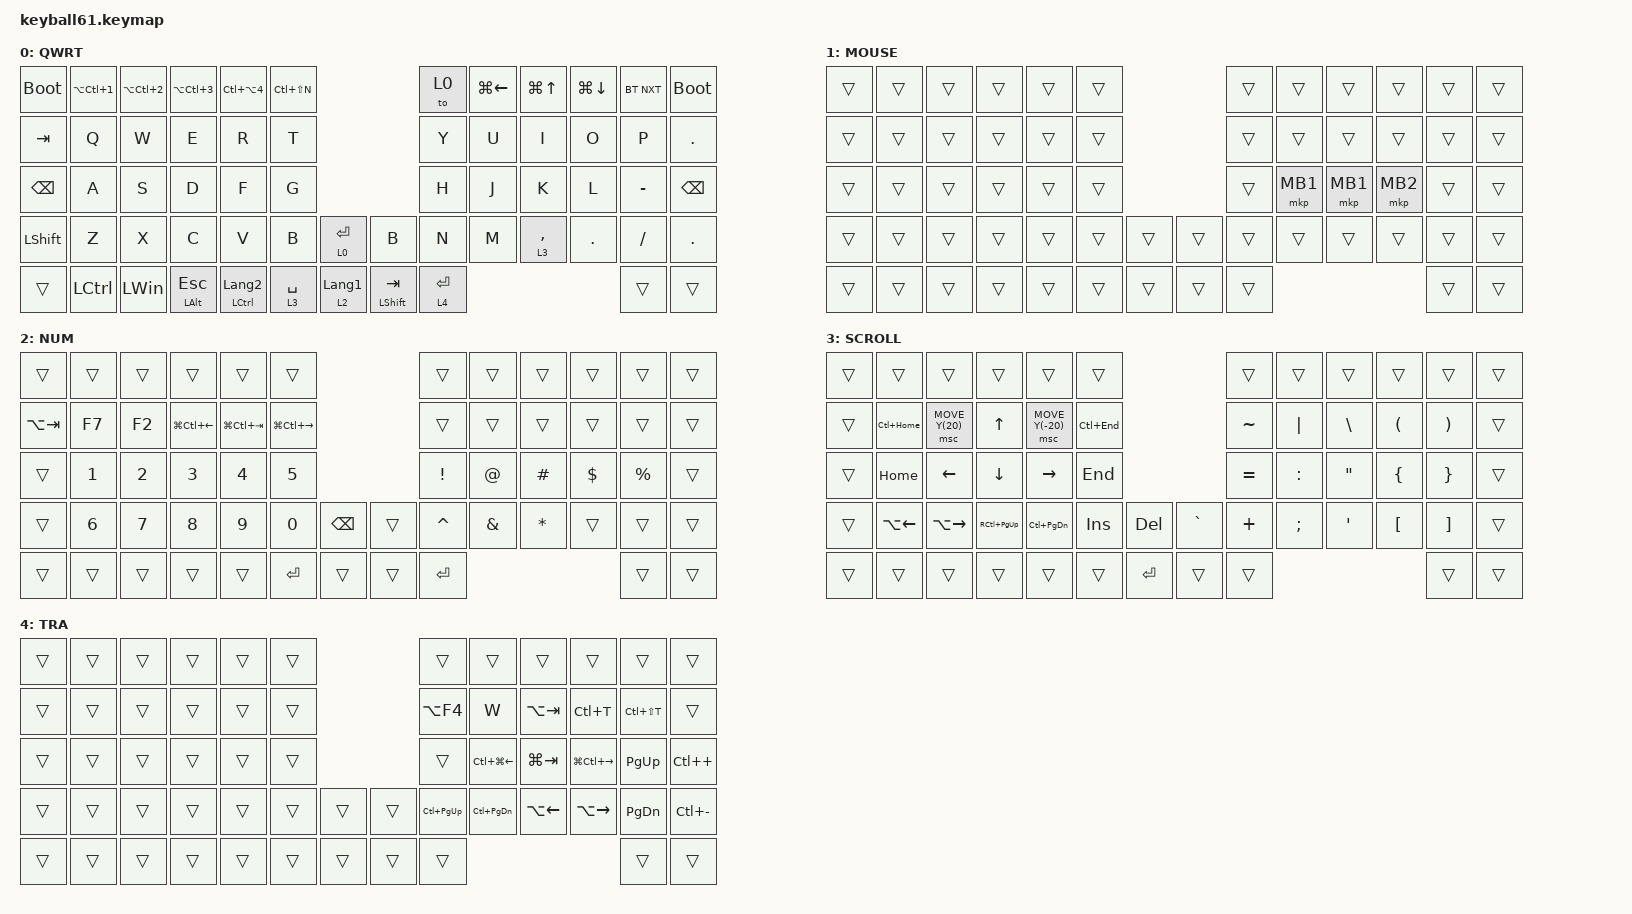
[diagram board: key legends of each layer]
#define DEFAULT 0
#define MOUSE   1
#define NUM     2
#define TRA     3
#define SCROLL  4
#define SNIPE   5 // Snipe Mode Layer

#include <behaviors/mouse_keys.dtsi>
#include <dt-bindings/zmk/mouse.h>
#include <behaviors.dtsi>
#include <dt-bindings/zmk/bt.h>
#include <dt-bindings/zmk/keys.h>
#include <dt-bindings/zmk/pointing.h>

&lt {
    tapping-term-ms = <175>;
    flavor = "balanced";
    quick-tap-ms = <125>;
};

&mt {
    tapping-term-ms = <175>;
    flavor = "tap-preferred";
    quick-tap-ms = <125>;
};

/ {
    combos {
        compatible = "zmk,combos";

        mb1 {
            bindings = <&mkp MB1>;
            key-positions = <31 32>;
        };

        mb2 {
            bindings = <&mkp MB2>;
            key-positions = <32 33>;
        };
    };

    keymap {
        compatible = "zmk,keymap";

        default_layer {
            label = "QWRT";
            bindings = <
&bootloader     &kp LA(LC(N1))  &kp LA(LC(N2))  &kp LA(LC(N3))       &kp LC(LA(N4))        &kp LC(LS(N))                                        &to 0        &kp LG(LEFT_ARROW)  &kp LG(UP)   &kp LG(DOWN_ARROW)  &bt BT_NXT  &bootloader
&kp TAB         &kp Q           &kp W           &kp E                &kp R                 &kp T                                                &kp Y        &kp U               &kp I        &kp O               &kp P       &kp PERIOD
&kp BSPC        &kp A           &kp S           &kp D                &kp F                 &kp G                                                &kp H        &kp J               &kp K        &kp L               &kp MINUS   &kp BACKSPACE
&kp LEFT_SHIFT  &kp Z           &kp X           &kp C                &kp V                 &kp B          &lt 0 ENTER       &kp B               &kp N        &kp M               &lt 3 COMMA  &kp PERIOD          &kp FSLH    &kp PERIOD
&trans          &kp LCTRL       &kp LEFT_WIN    &mt LEFT_ALT ESCAPE  &mt LCTRL LANGUAGE_2  &lt 3 SPACE    &lt 2 LANGUAGE_1  &mt LEFT_SHIFT TAB  &lt 4 ENTER                                                       &trans      &trans
            >;
        };

        mouse_layer {
            label = "MOUSE";
            bindings = <
&trans  &trans  &trans  &trans  &trans  &trans                  &trans  &trans    &trans    &trans    &trans  &trans
&trans  &trans  &trans  &trans  &trans  &trans                  &trans  &trans    &trans    &trans    &trans  &trans
&trans  &trans  &trans  &trans  &trans  &trans                  &trans  &mkp MB1  &mkp MB1  &mkp MB2  &trans  &trans
&trans  &trans  &trans  &trans  &trans  &trans  &trans  &trans  &trans  &trans    &trans    &trans    &trans  &trans
&trans  &trans  &trans  &trans  &trans  &trans  &trans  &trans  &trans                                &trans  &trans
            >;
        };

        number_layer {
            label = "NUM";
            bindings = <
&trans       &trans  &trans  &trans                  &trans           &trans                                    &trans           &trans         &trans        &trans      &trans       &trans
&kp LA(TAB)  &kp F7  &kp F2  &kp LG(LC(LEFT_ARROW))  &kp LG(LC(TAB))  &kp LG(LC(RIGHT))                         &trans           &trans         &trans        &trans      &trans       &trans
&trans       &kp N1  &kp N2  &kp N3                  &kp N4           &kp N5                                    &kp EXCLAMATION  &kp AT_SIGN    &kp HASH      &kp DOLLAR  &kp PERCENT  &trans
&trans       &kp N6  &kp N7  &kp N8                  &kp N9           &kp N0             &kp BACKSPACE  &trans  &kp CARET        &kp AMPERSAND  &kp ASTERISK  &trans      &trans       &trans
&trans       &trans  &trans  &trans                  &trans           &kp ENTER          &trans         &trans  &kp ENTER                                                 &trans       &trans
            >;
        };

        scroll_layer {
            label = "SCROLL";
            bindings = <
&trans  &trans        &trans           &trans         &trans            &trans                              &trans     &trans     &trans             &trans                &trans                 &trans
&trans  &kp LC(HOME)  &msc MOVE_Y(20)  &kp UP_ARROW   &msc MOVE_Y(-20)  &kp LC(END)                         &kp TILDE  &kp PIPE   &kp BACKSLASH      &kp LEFT_PARENTHESIS  &kp RIGHT_PARENTHESIS  &trans
&trans  &kp HOME      &kp LEFT_ARROW   &kp DOWN       &kp RIGHT         &kp END                             &kp EQUAL  &kp COLON  &kp DOUBLE_QUOTES  &kp LEFT_BRACE        &kp RIGHT_BRACE        &trans
&trans  &kp LA(LEFT)  &kp LA(RIGHT)    &kp RC(PG_UP)  &kp LC(PG_DN)     &kp INSERT   &kp DELETE  &kp GRAVE  &kp PLUS   &kp SEMI   &kp SINGLE_QUOTE   &kp LEFT_BRACKET      &kp RIGHT_BRACKET      &trans
&trans  &trans        &trans           &trans         &trans            &trans       &kp ENTER   &trans     &trans                                                         &trans                 &trans
            >;
        };

        trans_layer {
            label = "TRA";
            bindings = <
&trans  &trans  &trans  &trans  &trans  &trans                  &trans         &trans             &trans              &trans             &trans         &trans
&trans  &trans  &trans  &trans  &trans  &trans                  &kp LA(F4)     &kp W              &kp LA(TAB)         &kp LC(T)          &kp LC(LS(T))  &trans
&trans  &trans  &trans  &trans  &trans  &trans                  &trans         &kp LC(LG(LEFT))   &kp LG(TAB)         &kp LG(LC(RIGHT))  &kp PG_UP      &kp LC(PLUS)
&trans  &trans  &trans  &trans  &trans  &trans  &trans  &trans  &kp LC(PG_UP)  &kp LC(PAGE_DOWN)  &kp LA(LEFT_ARROW)  &kp LA(RIGHT)      &kp PAGE_DOWN  &kp LC(MINUS)
&trans  &trans  &trans  &trans  &trans  &trans  &trans  &trans  &trans                                                                   &trans         &trans
            >;
        };
    };
};
